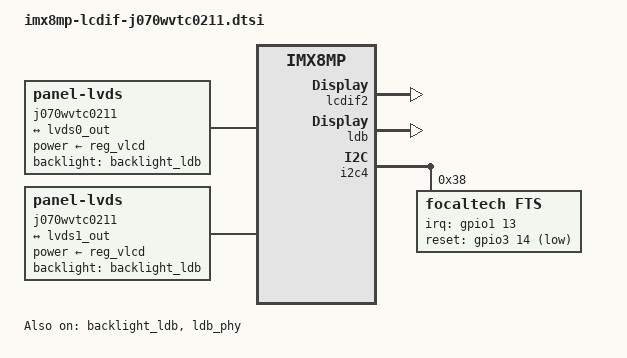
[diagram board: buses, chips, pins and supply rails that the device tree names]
/*
 * Copyright (C) 2021 F&S Elektronik Systeme GmbH
 *
 * This program is free software; you can redistribute it and/or modify
 * it under the terms of the GNU General Public License version 2 as
 * published by the Free Software Foundation.
 */
/ {

	lvds0_panel {
		compatible = "panel-lvds";
		power-supply = <&reg_vlcd>;
		backlight = <&backlight_ldb>;
		data-mapping = "vesa-24";
		label = "j070wvtc0211";
		width-mm = <154>;
		height-mm = <85>;
		status = "okay";

		panel-timing {
			clock-frequency = <37125000>;
			hactive = <800>;
			vactive = <480>;
			hback-porch = <46>;
			hfront-porch = <209>;
			hsync-len = <1>;
			vback-porch = <23>;
			vfront-porch = <11>;
			vsync-len = <1>;
			de-active = <1>;
			vsync-active = <1>;
			hsync-active = <1>;
		};

		port {
			panel_lvds0_in: endpoint {
				remote-endpoint = <&lvds0_out>;
			};
		};
	};

	lvds1_panel {
		compatible = "panel-lvds";
		power-supply = <&reg_vlcd>;
		backlight = <&backlight_ldb>;
		data-mapping = "vesa-24";
		label = "j070wvtc0211";
		width-mm = <154>;
		height-mm = <85>;
		status = "okay";

		panel-timing {
			clock-frequency = <37125000>;
			hactive = <800>;
			vactive = <480>;
			hback-porch = <46>;
			hfront-porch = <209>;
			hsync-len = <1>;
			vback-porch = <23>;
			vfront-porch = <11>;
			vsync-len = <1>;
			de-active = <1>;
			vsync-active = <1>;
			hsync-active = <1>;
		};

		port {
			panel_lvds1_in: endpoint {
				remote-endpoint = <&lvds1_out>;
			};
		};
	};
};

&backlight_ldb {
	pwms = <&pwm2 0 250000 PWM_POLARITY_INVERTED>;
	brightness-levels = <135 143 151 159 167 175 183 191
			     199 207 215 223 231 239 247 255>;
	default-brightness-level = <14>;

	status = "okay";
};

/* MIPI-DSI */
&lcdif1 {
	status = "disabled";
};

/* LVDS */
&lcdif2 {
	status = "okay";
};

/* HDMI */
&lcdif3 {
	status = "disabled";
};

&ldb_phy {
	status = "okay";
};

&ldb {
	status = "okay";
	/* TODO: disabled for now because does not work */
#ifdef CONFIG_PICOCOREMX8MP_LDB_DUAL_CHANNEL
	fsl,dual-channel;
#endif /* CONFIG_PICOCOREMX8MP_LDB_DUAL_CHANNEL */

	/* DSI_A */
	lvds-channel@0 {
		fsl,data-mapping = "spwg";
		fsl,data-width = <24>;
		status = "disabled";

		port@1 {
			reg = <1>;

			lvds0_out: endpoint {
				remote-endpoint = <&panel_lvds0_in>;
			};
		};
	};

	/* DSI_B */
	lvds-channel@1 {
		#address-cells = <1>;
		#size-cells = <0>;
		fsl,data-mapping = "spwg";
		fsl,data-width = <24>;
		status = "okay";

		port@1 {
			reg = <1>;

			lvds1_out: endpoint {
				remote-endpoint = <&panel_lvds1_in>;
			};
		};
	};
};

&i2c4 {
	/* touch I2C */
	focaltech@38 {
		compatible = "focaltech,fts";
		reg = <0x38>;
		interrupt-parent = <&gpio1>;
		interrupts = <13 IRQ_TYPE_EDGE_FALLING>;
		focaltech,irq-gpio = <&gpio1 13 IRQ_TYPE_EDGE_FALLING>;
#ifdef CONFIG_PICOCOREMX8MP_INVERTED_XY
		focaltech,touchscreen-inverted-x;
		focaltech,touchscreen-inverted-y;
#endif
		focaltech,reset-gpio = <&gpio3 14 GPIO_ACTIVE_LOW>;
		focaltech,num-max-touches = <10>;
		focaltech,display-coords = <0 0 800 480>;
	};
};
